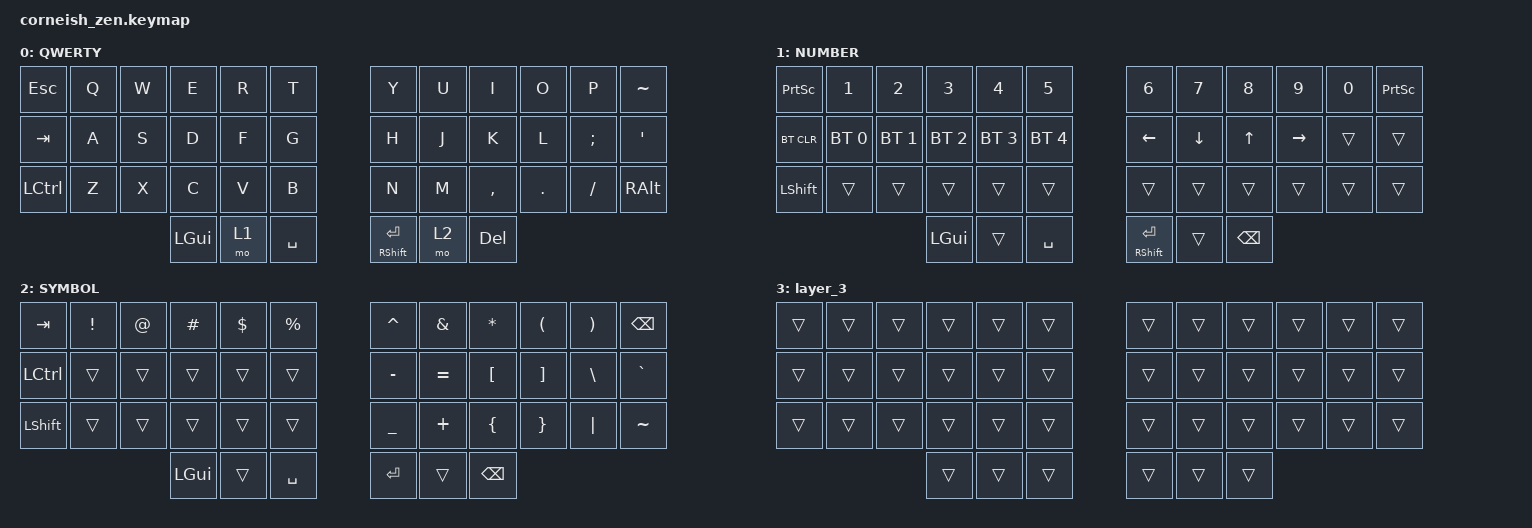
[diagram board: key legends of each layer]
/*
*
* Copyright (c) 2021 Darryl deHaan
* SPDX-License-Identifier: MIT
*
*/

#include <behaviors.dtsi>
#include <dt-bindings/zmk/bt.h>
#include <dt-bindings/zmk/keys.h>

/ {
    chosen {
        zmk,physical-layout = &foostan_corne_6col_layout;

        // zmk,physical-layout = &foostan_corne_5col_layout;
    };
};

/ {
    combos {
        compatible = "zmk,combos";

        bootloader_left {
            bindings = <&bootloader>;
            key-positions = <37 36 0>;
        };

        bootloader_right {
            bindings = <&bootloader>;
            key-positions = <40 41 11>;
        };
    };

    keymap {
        compatible = "zmk,keymap";

        default_layer {
            display-name = "QWERTY";

            // --------------------------------------------------------------------------------
            // |  TAB |  Q  |  W  |  E  |  R  |  T  |   |  Y  |  U   |  I  |  O  |  P  | BSPC |
            // | CTRL |  A  |  S  |  D  |  F  |  G  |   |  H  |  J   |  K  |  L  |  ;  |  '   |
            // | SHFT |  Z  |  X  |  C  |  V  |  B  |   |  N  |  M   |  ,  |  .  |  /  | ESC  |
            //                    | GUI | LWR | SPC |   | ENT | RSE  | ALT |

            bindings = <
&kp ESCAPE  &kp Q  &kp W  &kp E     &kp R  &kp T        &kp Y                  &kp U  &kp I       &kp O    &kp P     &kp TILDE
&kp TAB     &kp A  &kp S  &kp D     &kp F  &kp G        &kp H                  &kp J  &kp K       &kp L    &kp SEMI  &kp SQT
&kp LCTRL   &kp Z  &kp X  &kp C     &kp V  &kp B        &kp N                  &kp M  &kp COMMA   &kp DOT  &kp FSLH  &kp RIGHT_ALT
                          &kp LGUI  &mo 1  &kp SPACE    &mt RIGHT_SHIFT ENTER  &mo 2  &kp DELETE
            >;
        };

        lower_layer {
            display-name = "NUMBER";

            // -----------------------------------------------------------------------------------------
            // |  TAB |  1  |  2  |  3  |  4  |  5  |   |  6  |  7  |  8  |  9  |  0  | BSPC |
            // | BTCLR| BT1 | BT2 | BT3 | BT4 | BT5 |   | LFT | DWN |  UP | RGT |     |      |
            // | SHFT |     |     |     |     |     |   |     |     |     |     |     |      |
            //                    | GUI |     | SPC |   | ENT |     | ALT |

            bindings = <
&kp PRINTSCREEN  &kp N1        &kp N2        &kp N3        &kp N4        &kp N5          &kp N6                 &kp N7    &kp N8         &kp N9     &kp N0  &kp PRINTSCREEN
&bt BT_CLR       &bt BT_SEL 0  &bt BT_SEL 1  &bt BT_SEL 2  &bt BT_SEL 3  &bt BT_SEL 4    &kp LEFT               &kp DOWN  &kp UP         &kp RIGHT  &trans  &trans
&kp LSHFT        &trans        &trans        &trans        &trans        &trans          &trans                 &trans    &trans         &trans     &trans  &trans
                                             &kp LGUI      &trans        &kp SPACE       &mt RIGHT_SHIFT ENTER  &trans    &kp BACKSPACE
            >;
        };

        raise_layer {
            display-name = "SYMBOL";

            // -----------------------------------------------------------------------------------------
            // |  TAB |  !  |  @  |  #  |  $  |  %  |   |  ^  |  &  |  *  |  (  |  )  | BSPC |
            // | CTRL |     |     |     |     |     |   |  -  |  =  |  [  |  ]  |  \  |  `   |
            // | SHFT |     |     |     |     |     |   |  _  |  +  |  {  |  }  | "|" |  ~   |
            //                    | GUI |     | SPC |   | ENT |     | ALT |

            bindings = <
&kp TAB    &kp EXCL  &kp AT  &kp HASH  &kp DLLR  &kp PRCNT    &kp CARET  &kp AMPS   &kp ASTRK      &kp LPAR  &kp RPAR  &kp BSPC
&kp LCTRL  &trans    &trans  &trans    &trans    &trans       &kp MINUS  &kp EQUAL  &kp LBKT       &kp RBKT  &kp BSLH  &kp GRAVE
&kp LSHFT  &trans    &trans  &trans    &trans    &trans       &kp UNDER  &kp PLUS   &kp LBRC       &kp RBRC  &kp PIPE  &kp TILDE
                             &kp LGUI  &trans    &kp SPACE    &kp RET    &trans     &kp BACKSPACE
            >;
        };

        layer_3 {
            bindings = <
&trans  &trans  &trans  &trans  &trans  &trans    &trans  &trans  &trans  &trans  &trans  &trans
&trans  &trans  &trans  &trans  &trans  &trans    &trans  &trans  &trans  &trans  &trans  &trans
&trans  &trans  &trans  &trans  &trans  &trans    &trans  &trans  &trans  &trans  &trans  &trans
                        &trans  &trans  &trans    &trans  &trans  &trans
            >;
        };
    };
};
